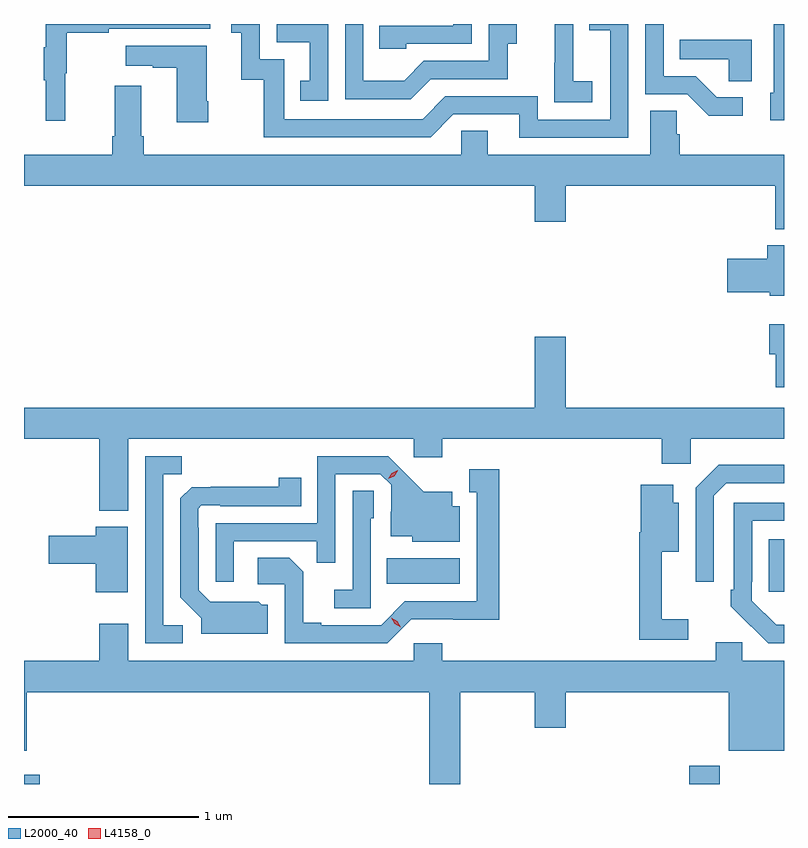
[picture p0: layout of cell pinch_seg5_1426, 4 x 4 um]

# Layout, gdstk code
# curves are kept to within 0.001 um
import gdstk
lib = gdstk.Library(unit=1e-6, precision=1e-09)
def R(c, l, rs):  # rectangles x0, y0, x1, y1
    for r in rs: c.add(gdstk.rectangle(r[:2], r[2:], *l))
def P(c, l, *ps):  # polygons
    for p in ps: c.add(gdstk.Polygon(p, *l))
L2000_40 = (2000, 40)
L4158_0 = (4158, 0)

pinch_seg5_1426 = lib.new_cell('pinch_seg5_1426')
R(pinch_seg5_1426, L2000_40, [(138.344,877.588,138.427,877.636), (141.845,877.588,142.005,877.684), (142.265,878.601,142.344,878.875), (140.254,878.642,140.638,878.776)])
P(pinch_seg5_1426, L2000_40, [(141.525,881.588),(141.319,881.588),(141.319,881.554),(141.429,881.554),(141.429,881.085),(141.048,881.085),(141.048,881.208),(140.562,881.208),(140.442,881.088),(139.713,881.088),(139.713,881.403),(139.584,881.403),(139.584,881.588),(139.434,881.588),(139.434,881.541),(139.487,881.541),(139.487,881.295),(139.605,881.295),(139.605,880.992),(140.484,880.992),(140.604,881.112),(140.951,881.112),(140.951,880.989),(141.525,880.989)],
  [(142.126,881.202),(141.991,881.202),(141.88,881.313),(141.711,881.313),(141.711,881.588),(141.615,881.588),(141.615,881.217),(141.834,881.217),(141.947,881.105),(142.126,881.105)],
  [(139.944,881.588),(139.674,881.588),(139.674,881.493),(139.847,881.493),(139.847,881.289),(139.798,881.289),(139.798,881.184),(139.944,881.184)],
  [(140.485,881.298),(140.889,881.298),(140.889,881.483),(140.938,881.483),(140.938,881.588),(140.79,881.588),(140.79,881.394),(140.448,881.394),(140.344,881.29),(140.13,881.29),(140.13,881.588),(140.034,881.588),(140.034,881.193),(140.38,881.193)],
  [(142.344,881.588),(142.29,881.588),(142.29,881.226),(142.271,881.226),(142.271,881.082),(142.344,881.082)],
  [(138.56,881.328),(138.568,881.328),(138.568,881.542),(138.791,881.542),(138.791,881.562),(139.324,881.562),(139.324,881.588),(138.458,881.588),(138.458,881.465),(138.447,881.465),(138.447,881.291),(138.458,881.291),(138.458,881.079),(138.56,881.079)],
  [(140.355,881.484),(140.7,881.484),(140.7,881.588),(140.604,881.588),(140.604,881.58),(140.215,881.58),(140.215,881.457),(140.355,881.457)],
  [(141.334,881.287),(141.236,881.287),(141.236,881.516),(141.234,881.516),(141.234,881.588),(141.137,881.588),(141.137,881.383),(141.136,881.383),(141.136,881.177),(141.334,881.177)],
  [(142.174,881.506),(141.796,881.506),(141.796,881.402),(142.053,881.402),(142.053,881.287),(142.174,881.287)],
  [(139.314,881.182),(139.306,881.182),(139.306,881.473),(138.879,881.473),(138.879,881.369),(139.022,881.369),(139.022,881.359),(139.148,881.359),(139.148,881.07),(139.314,881.07)],
  [(140.785,881.027),(140.646,881.027),(140.646,880.9),(138.974,880.9),(138.974,880.996),(138.961,880.996),(138.961,881.263),(138.821,881.263),(138.821,880.996),(138.809,880.996),(138.809,880.9),(138.344,880.9),(138.344,880.736),(141.032,880.736),(141.032,880.548),(141.196,880.548),(141.196,880.736),(142.297,880.736),(142.297,880.508),(142.344,880.508),(142.344,880.9),(141.794,880.9),(141.794,881.009),(141.78,881.009),(141.78,881.132),(141.641,881.132),(141.641,880.9),(140.785,880.9)],
  [(142.344,880.423),(142.256,880.423),(142.256,880.353),(142.044,880.353),(142.044,880.175),(142.268,880.175),(142.268,880.157),(142.344,880.157)],
  [(142.344,880.009),(142.266,880.009),(142.266,879.851),(142.3,879.851),(142.3,879.675),(142.344,879.675)],
  [(138.892,879.404),(140.394,879.404),(140.394,879.309),(140.546,879.309),(140.546,879.404),(141.701,879.404),(141.701,879.273),(141.852,879.273),(141.852,879.404),(142.344,879.404),(142.344,879.568),(141.196,879.568),(141.196,879.943),(141.032,879.943),(141.032,879.568),(138.344,879.568),(138.344,879.404),(138.74,879.404),(138.74,879.026),(138.892,879.026)],
  [(139.18,878.424),(139.077,878.424),(139.077,879.217),(139.173,879.217),(139.173,879.312),(138.981,879.312),(138.981,878.328),(139.18,878.328)],
  [(139.449,878.865),(139.885,878.865),(139.885,878.752),(139.983,878.752),(139.983,879.219),(140.22,879.219),(140.277,879.162),(140.277,879.02),(140.273,879.02),(140.273,878.891),(140.388,878.891),(140.388,878.864),(140.638,878.864),(140.638,879.049),(140.599,879.049),(140.599,879.127),(140.447,879.127),(140.26,879.312),(139.887,879.312),(139.887,878.961),(139.353,878.961),(139.353,878.652),(139.449,878.652)],
  [(141.975,879.105),(142.041,879.171),(142.344,879.171),(142.344,879.268),(142,879.268),(141.879,879.147),(141.879,878.652),(141.975,878.652)],
  [(140.382,878.454),(140.845,878.453),(140.845,879.244),(140.687,879.244),(140.687,879.123),(140.726,879.123),(140.726,878.55),(140.349,878.55),(140.223,878.424),(139.909,878.424),(139.909,878.437),(139.815,878.437),(139.815,878.704),(139.739,878.78),(139.575,878.78),(139.575,878.64),(139.716,878.64),(139.716,878.328),(140.256,878.328)],
  [(139.627,878.532),(139.596,878.532),(139.58,878.548),(139.323,878.547),(139.263,878.607),(139.263,878.936),(139.26,878.936),(139.26,879.036),(139.278,879.054),(139.378,879.054),(139.378,879.051),(139.802,879.051),(139.802,879.199),(139.684,879.199),(139.684,879.152),(139.226,879.151),(139.167,879.092),(139.167,878.57),(139.277,878.46),(139.277,878.378),(139.627,878.378)],
  [(141.841,878.455),(141.701,878.455),(141.701,878.81),(141.79,878.81),(141.79,879.067),(141.76,879.067),(141.76,879.163),(141.59,879.163),(141.59,878.914),(141.583,878.914),(141.583,878.346),(141.841,878.346)],
  [(140.169,878.988),(140.184,878.988),(140.184,879.131),(140.073,879.131),(140.073,878.611),(139.977,878.611),(139.977,878.514),(140.169,878.514)],
  [(142.344,878.425),(142.302,878.425),(142.173,878.553),(142.173,878.653),(142.176,878.653),(142.176,878.973),(142.344,878.973),(142.344,879.069),(142.08,879.069),(142.08,878.611),(142.065,878.611),(142.065,878.523),(142.262,878.328),(142.344,878.328)],
  [(138.889,878.941),(138.722,878.941),(138.722,878.894),(138.474,878.894),(138.474,878.747),(138.722,878.747),(138.722,878.598),(138.889,878.598)],
  [(140.641,878.072),(141.032,878.072),(141.032,877.884),(141.196,877.884),(141.196,878.072),(142.052,878.072),(142.052,877.763),(142.344,877.763),(142.344,878.236),(142.125,878.236),(142.125,878.334),(141.986,878.334),(141.986,878.236),(140.546,878.236),(140.546,878.329),(140.394,878.329),(140.394,878.236),(138.892,878.236),(138.892,878.431),(138.74,878.431),(138.74,878.236),(138.344,878.236),(138.344,877.763),(138.359,877.763),(138.359,878.072),(140.477,878.072),(140.477,877.588),(140.641,877.588)])
P(pinch_seg5_1426, L4158_0, [(140.326,878.412),(140.294,878.431),(140.276,878.464),(140.276,878.464),(140.276,878.464),(140.308,878.445),(140.326,878.413),(140.326,878.412)],
  [(140.262,879.194),(140.262,879.194),(140.279,879.224),(140.31,879.239),(140.31,879.239),(140.31,879.238),(140.293,879.209),(140.262,879.194)])

lib.write_gds('pinch_seg5_1426.gds')
